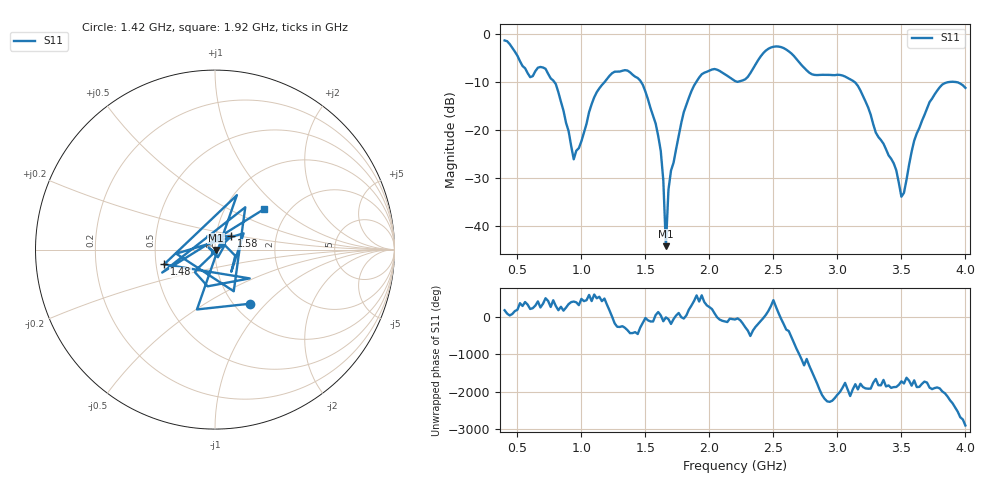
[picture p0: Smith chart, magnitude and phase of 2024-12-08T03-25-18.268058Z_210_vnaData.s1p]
!Created with skrf (http://scikit-rf.org).
# Hz S RI R 50.0
!freq ReS11 ImS11
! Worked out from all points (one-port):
!   181 points, 400 MHz to 4 GHz, reference 50 ohm
!   lowest |S11| = -44.3 dB at 1.66 GHz (marker M1), VSWR 1.01, Z = 50.6 - j0.235 ohm
!   |S11| at or under -10 dB: 788.5 MHz to 1.181 GHz (392.7 MHz wide, 39.9 % of centre); 1.467 GHz to 1.897 GHz (430.6 MHz wide, 25.6 % of centre); 3.134 GHz to 3.873 GHz (739.6 MHz wide, 21.1 % of centre) (the widest 3 of 4)
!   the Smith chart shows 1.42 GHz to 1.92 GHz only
!   S11 on the Smith chart (normalised r, x): 1.42 GHz: 1.18, -0.82; 1.48 GHz: 0.55, -0.10; 1.58 GHz: 1.18, +0.18; 1.92 GHz: 1.51, +0.77
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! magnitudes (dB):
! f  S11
! 400 MHz  -1.3
! 600 MHz  -9.0
! 720 MHz  -7.2
! 860 MHz  -16.0
! 940 MHz  -26.1
! 1.12 GHz  -12.1
! 1.3 GHz  -7.8
! 1.42 GHz  -8.9
! 1.48 GHz  -10.6
! 1.58 GHz  -18.7
! 1.62 GHz  -24.4
! 1.64 GHz  -30.6
! 1.66 GHz  -44.3
! 1.68 GHz  -32.5
! 1.76 GHz  -21.3
! 1.92 GHz  -9.1
! 2.04 GHz  -7.3
! 2.2 GHz  -9.8
! 2.48 GHz  -2.8
! 2.66 GHz  -4.6
! 2.8 GHz  -8.4
! 3.1 GHz  -9.4
! 3.44 GHz  -27.0
! 3.5 GHz  -33.9
! 3.56 GHz  -27.3
! 3.62 GHz  -20.7
! 3.78 GHz  -11.8
! 4 GHz  -11.2
